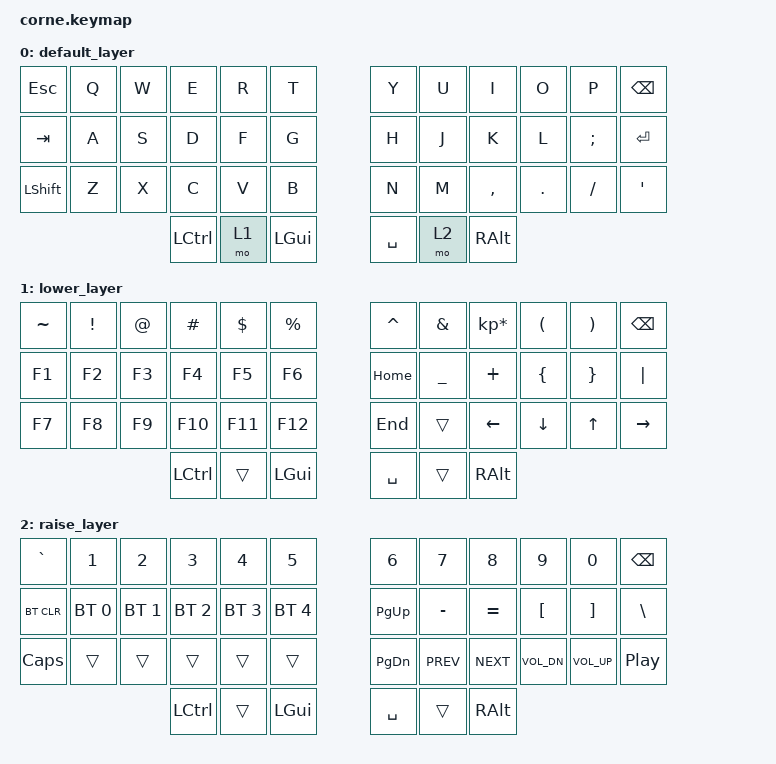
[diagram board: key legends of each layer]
/*
 * Copyright (c) 2020 The ZMK Contributors
 *
 * SPDX-License-Identifier: MIT
 */

#include <behaviors.dtsi>
#include <dt-bindings/zmk/keys.h>
#include <dt-bindings/zmk/bt.h>

/ {
        keymap {
                compatible = "zmk,keymap";

                default_layer {
// -----------------------------------------------------------------------------------------
// | ESC |  Q  |  W  |  E  |  R  |  T  |   |  Y  |  U   |  I  |  O  |  P  | BKSP |
// | TAB |  A  |  S  |  D  |  F  |  G  |   |  H  |  J   |  K  |  L  |  ;  |  ENT   |
// | SHFT |  Z  |  X  |  C  |  V  |  B  |   |  N  |  M   |  ,  |  .  |  /  |  ' |
//                    | CTRL | LWR | GUI |   |  SPC | RSE  | ALT |
                        bindings = <
   &kp ESC   &kp Q &kp W &kp E &kp R &kp T   &kp Y &kp U  &kp I     &kp O   &kp P    &kp BSPC
   &kp TAB &kp A &kp S &kp D &kp F &kp G   &kp H &kp J  &kp K     &kp L   &kp SEMI &kp RET
   &kp LSHFT &kp Z &kp X &kp C &kp V &kp B   &kp N &kp M  &kp COMMA &kp DOT &kp FSLH &kp SQT
                  &kp LCTRL &mo 1 &kp LGUI  &kp SPACE &mo 2 &kp RALT
                        >;
                };

                lower_layer {
// -----------------------------------------------------------------------------------------
// |  ~ |  !  |  @  |  #  |  $  |  %  |   |  ^ |  &  |  *  |  (  |  )  | BKSP |
// | F1 | F2  |  F3 |  F4 |  F5 |  F6 |   |HOME|  _  |  +  |  {  |  }  |  "|" |
// | F7 |  F8 |  F9 | F10 | F11 | F12 |   |END |    |  LFT | DWN |  UP |  RGT |
//                    | CTRL |     | GUI |   | SPC |     | ALT |
                        bindings = <
   &kp TILDE &kp EXCL &kp AT &kp HASH &kp DLLR &kp PRCNT  &kp CARET &kp AMPS  &kp KP_MULTIPLY &kp LPAR &kp RPAR &kp BSPC
   &kp   F1  &kp  F2  &kp F3 &kp  F4  &kp  F5  &kp F6     &kp HOME  &kp UNDER &kp    PLUS     &kp LBRC &kp RBRC &kp PIPE
   &kp   F7  &kp  F8  &kp F9 &kp  F10 &kp  F11 &kp F12    &kp END    &trans   &kp    LEFT     &kp DOWN &kp  UP  &kp RIGHT
                    	     &kp LCTRL &trans  &kp LGUI   &kp SPACE  &trans   &kp RALT
                        >;
                };

                raise_layer {
// -----------------------------------------------------------------------------------------
// |   `  |  1  |  2  |  3  |  4  |  5  |   |  6  |  7  |  8  |   9   |   0  | BKSP |
// |      | BT1 | BT2 | BT3 | BT4 | BT5 |   |PG_UP|  -  |  =  |   [   |   ]  |   \  |
// | CLCK |     |     |     |     |     |   |PG_DN|     |PREV | VOL_- |VOL_+ | PLAY |
//                    | CTRL |     | GUI | | SPC |     | ALT |
                        bindings = <
   &kp GRAVE  &kp    N1    &kp    N2    &kp    N3    &kp    N4    &kp    N5    &kp   N6  &kp   N7  &kp  N8   &kp  N9  &kp  N0  &kp BSPC
   &bt BT_CLR &bt BT_SEL 0 &bt BT_SEL 1 &bt BT_SEL 2 &bt BT_SEL 3 &bt BT_SEL 4 &kp PG_UP &kp MINUS &kp EQUAL &kp LBKT &kp RBKT &kp BSLH
   &kp CLCK   &trans   &trans   &trans   &trans   &trans  &kp PG_DN &kp C_PREV &kp C_NEXT &kp C_VOL_DN &kp C_VOL_UP &kp C_PP
                          &kp LCTRL  &trans &kp  LGUI &kp  SPACE &trans &kp RALT
                        >;
                };
        };
};
